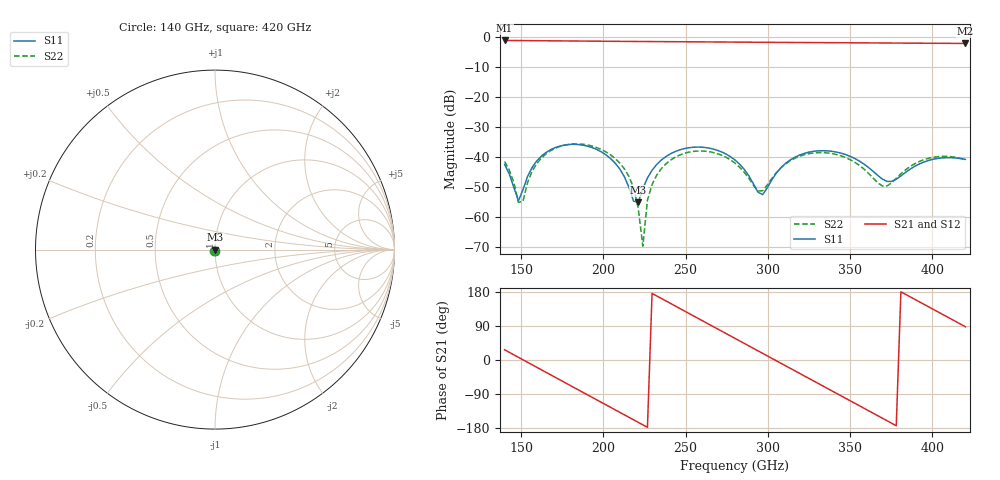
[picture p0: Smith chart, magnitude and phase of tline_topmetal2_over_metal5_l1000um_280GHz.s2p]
#  GHZ S DB R 50
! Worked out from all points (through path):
!   101 points, 140 GHz to 420 GHz, reference 50 ohm
!   highest |S21| = -1.13 dB at 140 GHz (marker M1); lowest = -2.1 dB at 420 GHz (marker M2)
!   group delay of S21, straight-line fit = 6.54 ps
!   lowest |S11| = -55.1 dB at 221.2 GHz (marker M3), VSWR 1.00, Z = 50.2 - j0.0578 ohm
!   |S11| at or under -10 dB: start of sweep to end of sweep
!   |S22| runs from -69.8 to -35.7 dB; largest |S21 - S12| = 1.5e-13
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140  -42.54 -105.8  -1.13 26.9  -1.13 26.9  -41.56 -111.7
148.4  -54.70 -53.5  -1.16 7.1  -1.16 7.1  -55.22 -90.0
151.2  -50.94 -6.3  -1.17 0.5  -1.17 0.5  -54.77 -14.6
156.8  -43.47 5.1  -1.20 -12.8  -1.20 -12.8  -44.73 6.0
162.4  -39.75 -2.3  -1.22 -26.0  -1.22 -26.0  -40.36 -2.0
187.6  -36.10 -55.3  -1.33 -85.4  -1.33 -85.4  -35.81 -57.9
210  -44.09 -97.0  -1.43 -138.1  -1.43 -138.1  -42.10 -109.0
218.4  -54.86 -70.8  -1.46 -157.9  -1.46 -157.9  -50.38 -126.2
221.2  -55.13 -19.2  -1.47 -164.5  -1.47 -164.5  -57.19 -128.6
224  -50.61 5.3  -1.48 -171.1  -1.48 -171.1  -69.84 4.4
226.8  -47.05 10.3  -1.49 -177.7  -1.49 -177.7  -54.49 25.7
235.2  -41.09 1.3  -1.52 162.5  -1.52 162.5  -43.97 9.5
257.6  -36.74 -48.5  -1.60 109.8  -1.60 109.8  -38.06 -45.7
280  -41.06 -110.2  -1.68 57.0  -1.68 57.0  -42.11 -111.1
296.8  -52.63 121.8  -1.74 17.5  -1.74 17.5  -51.33 119.1
310.8  -42.16 23.4  -1.79 -15.4  -1.79 -15.4  -42.35 28.5
327.6  -38.18 -28.2  -1.84 -54.9  -1.84 -54.9  -38.73 -24.3
350  -39.84 -95.8  -1.91 -107.6  -1.91 -107.6  -40.96 -92.5
369.6  -47.45 168.0  -1.97 -153.7  -1.97 -153.7  -49.76 155.6
375.2  -48.21 118.4  -1.99 -166.9  -1.99 -166.9  -48.65 100.2
394.8  -41.73 8.7  -2.05 147.0  -2.05 147.0  -40.96 6.0
420  -40.86 -80.3  -2.13 87.8  -2.13 87.8  -40.96 -76.6
